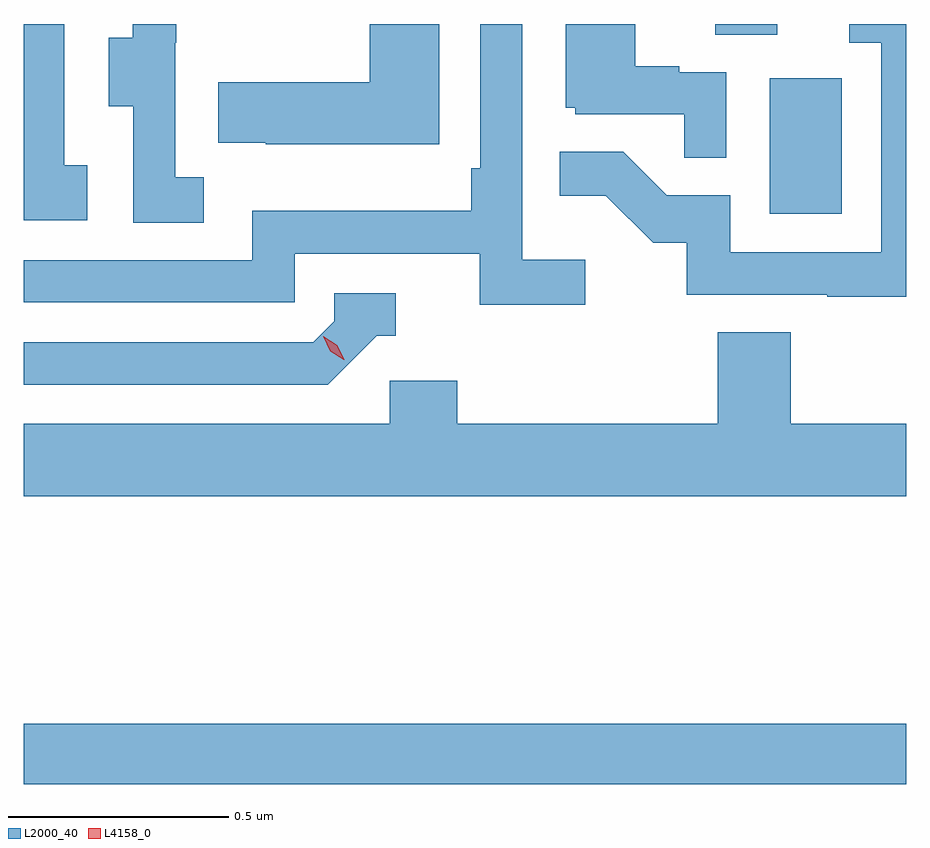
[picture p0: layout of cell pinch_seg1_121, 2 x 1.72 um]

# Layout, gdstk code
import gdstk
lib = gdstk.Library(unit=1e-6, precision=1e-09)
def R(c, l, rs):  # rectangles x0, y0, x1, y1
    for r in rs: c.add(gdstk.rectangle(r[:2], r[2:], *l))
def P(c, l, *ps):  # polygons
    for p in ps: c.add(gdstk.Polygon(p, *l))
L2000_40 = (2000, 40)
L4158_0 = (4158, 0)

pinch_seg1_121 = lib.new_cell('pinch_seg1_121')
R(pinch_seg1_121, L2000_40, [(1056.334,551.08,1058.334,551.216), (1058.024,552.372,1058.188,552.679), (1057.901,552.778,1058.041,552.802)])
P(pinch_seg1_121, L2000_40, [(1057.606,552.268),(1057.464,552.268),(1057.464,552.802),(1057.368,552.802),(1057.368,552.475),(1057.348,552.475),(1057.348,552.379),(1056.852,552.379),(1056.852,552.267),(1056.334,552.267),(1056.334,552.171),(1056.948,552.171),(1056.948,552.282),(1057.367,552.282),(1057.367,552.166),(1057.606,552.166)],
  [(1056.742,552.455),(1056.678,552.455),(1056.678,552.759),(1056.68,552.759),(1056.68,552.802),(1056.581,552.802),(1056.581,552.771),(1056.527,552.771),(1056.527,552.616),(1056.582,552.616),(1056.582,552.352),(1056.742,552.352)],
  [(1058.334,552.802),(1058.205,552.802),(1058.205,552.759),(1058.277,552.759),(1058.277,552.285),(1057.935,552.285),(1057.935,552.414),(1057.791,552.414),(1057.693,552.512),(1057.549,552.512),(1057.549,552.413),(1057.653,552.413),(1057.76,552.306),(1057.837,552.306),(1057.837,552.189),(1058.155,552.189),(1058.155,552.184),(1058.334,552.184)],
  [(1056.478,552.482),(1056.426,552.482),(1056.426,552.802),(1056.334,552.802),(1056.334,552.357),(1056.478,552.357)],
  [(1057.926,552.693),(1057.82,552.693),(1057.82,552.706),(1057.72,552.706),(1057.72,552.802),(1057.562,552.802),(1057.562,552.612),(1057.584,552.612),(1057.584,552.597),(1057.831,552.597),(1057.831,552.499),(1057.926,552.499)],
  [(1057.276,552.802),(1057.118,552.802),(1057.118,552.67),(1056.775,552.67),(1056.775,552.533),(1056.883,552.533),(1056.883,552.53),(1057.276,552.53)],
  [(1057.134,552.096),(1057.177,552.096),(1057.177,552.192),(1057.038,552.192),(1057.038,552.129),(1056.99,552.081),(1056.334,552.081),(1056.334,551.985),(1057.023,551.985)],
  [(1058.334,551.896),(1058.072,551.896),(1058.072,552.104),(1057.907,552.104),(1057.907,551.896),(1057.316,551.896),(1057.316,551.994),(1057.164,551.994),(1057.164,551.896),(1056.334,551.896),(1056.334,551.732),(1058.334,551.732)])
P(pinch_seg1_121, L4158_0, [(1057.059,552.041),(1057.029,552.061),(1057.013,552.094),(1057.013,552.094),(1057.013,552.094),(1057.044,552.074),(1057.06,552.042),(1057.06,552.041)])

lib.write_gds('pinch_seg1_121.gds')
